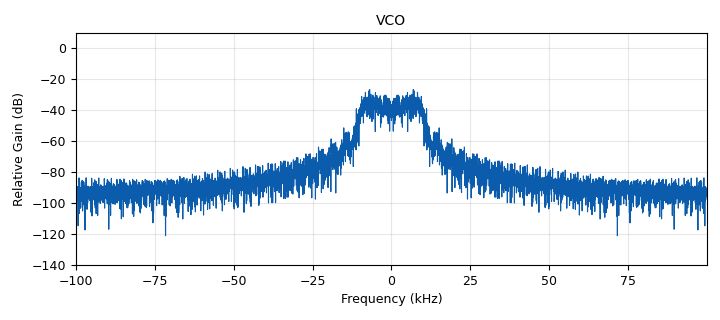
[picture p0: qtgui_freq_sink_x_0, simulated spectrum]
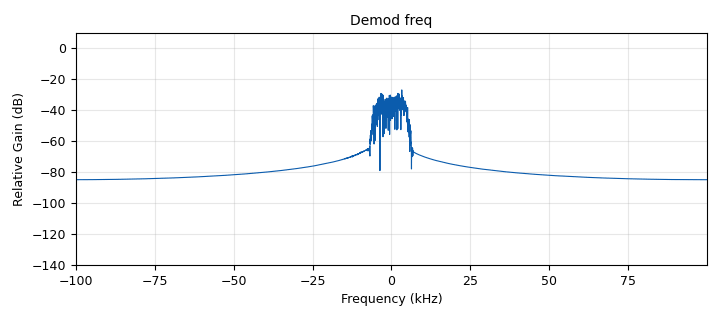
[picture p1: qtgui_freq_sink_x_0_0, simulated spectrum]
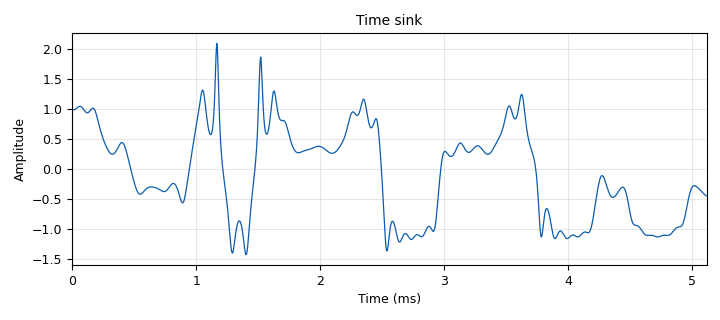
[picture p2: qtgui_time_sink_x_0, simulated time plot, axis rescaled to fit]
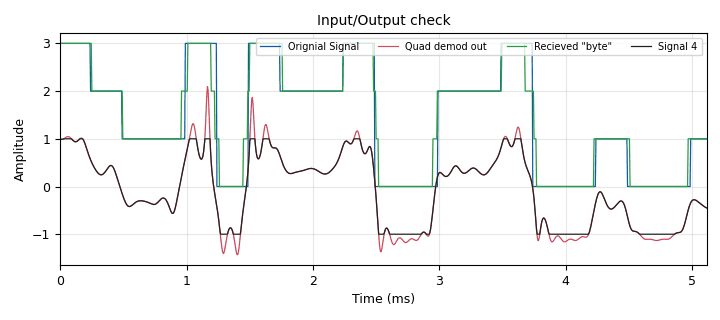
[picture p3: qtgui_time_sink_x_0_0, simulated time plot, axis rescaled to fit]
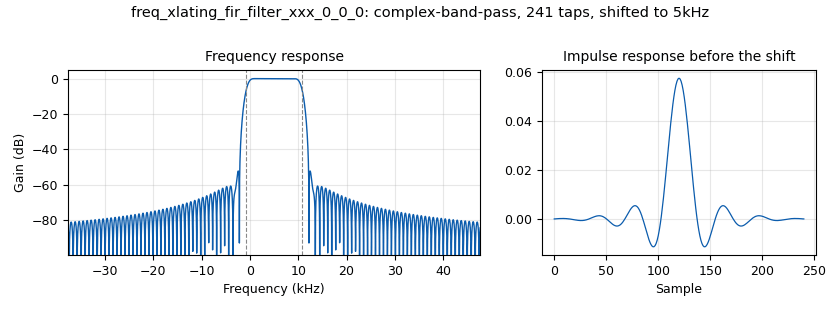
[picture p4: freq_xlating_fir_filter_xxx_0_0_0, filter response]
options:
  parameters:
    author: tobias
    generate_options: qt_gui
    id: FSK_4
    output_language: python
    title: 4FSK
  states: {}

blocks:
- name: TH
  id: variable
  parameters:
    value: bw*spec_eff
  states: {}
- name: bw
  id: variable
  parameters:
    value: 25e3
  states: {}
- name: fsk
  id: variable
  parameters:
    value: '4'
  states: {}
- name: interp
  id: variable_qtgui_range
  parameters:
    start: '1'
    step: '10'
    stop: '1000'
    value: '50'
  states: {}
- name: samp_rate
  id: variable
  parameters:
    value: 200e3
  states: {}
- name: spec_eff
  id: variable
  parameters:
    value: '0.3'
  states: {}
- name: transition_bw
  id: variable
  parameters:
    value: 2e3
  states: {}
- name: variable_0_0
  id: variable
  parameters:
    value: '0'
  states: {}
- name: vco_sens
  id: variable
  parameters:
    value: 2*math.pi*TH/(fsk-1)
  states: {}
- name: analog_const_source_x_0
  id: analog_const_source_x
  parameters:
    const: '2'
    type: float
  states: {}
- name: analog_quadrature_demod_cf_0
  id: analog_quadrature_demod_cf
  parameters:
    gain: '(samp_rate*2)/(2*math.pi*TH) '
  states: {}
- name: analog_rail_ff_0
  id: analog_rail_ff
  parameters:
    hi: '3'
    lo: '-3'
  states: {}
- name: analog_rail_ff_0_0
  id: analog_rail_ff
  parameters:
    hi: '1'
    lo: '-1'
  states: {}
- name: analog_random_source_x_0
  id: analog_random_source_x
  parameters:
    max: '2'
    min: '0'
    num_samps: int(samp_rate)
    repeat: 'True'
    type: byte
  states: {}
- name: analog_simple_squelch_cc_0
  id: analog_simple_squelch_cc
  parameters:
    alpha: '1'
    threshold: '-20'
  states: {}
- name: blocks_add_const_vxx_0
  id: blocks_add_const_vxx
  parameters:
    const: '0.5'
    type: float
  states: {}
- name: blocks_add_const_vxx_1
  id: blocks_add_const_vxx
  parameters:
    const: '3'
    type: float
  states: {}
- name: blocks_add_xx_0
  id: blocks_add_xx
  parameters:
    num_inputs: '3'
    type: float
  states: {}
- name: blocks_delay_0
  id: blocks_delay
  parameters:
    delay: '124'
    type: float
  states: {}
- name: blocks_divide_xx_0
  id: blocks_divide_xx
  parameters:
    type: float
  states: {}
- name: blocks_multiply_const_vxx_0
  id: blocks_multiply_const_vxx
  parameters:
    const: '3'
    type: float
  states: {}
- name: blocks_pack_k_bits_bb_0
  id: blocks_pack_k_bits_bb
  parameters:
    k: int(math.log2(fsk))
  states: {}
- name: blocks_repeat_0
  id: blocks_repeat
  parameters:
    interp: int(interp)
    type: byte
  states: {}
- name: blocks_sub_xx_0
  id: blocks_sub_xx
  parameters:
    type: float
  states: {}
- name: blocks_sub_xx_0_0
  id: blocks_sub_xx
  parameters:
    type: float
  states: {}
- name: blocks_threshold_ff_0
  id: blocks_threshold_ff
  parameters:
    high: '2.75'
    init: '0'
    low: '2.25'
  states: {}
- name: blocks_threshold_ff_0_1
  id: blocks_threshold_ff
  parameters:
    high: '1.75'
    init: '0'
    low: '1.25'
  states: {}
- name: blocks_threshold_ff_0_1_0
  id: blocks_threshold_ff
  parameters:
    high: '0.75'
    init: '0'
    low: '0.25'
  states: {}
- name: blocks_throttle_0
  id: blocks_throttle
  parameters:
    samples_per_second: samp_rate
    type: byte
  states: {}
- name: blocks_uchar_to_float_0
  id: blocks_uchar_to_float
  parameters: {}
  states: {}
- name: blocks_vco_f_0
  id: blocks_vco_f
  parameters:
    amplitude: '0.5'
    samp_rate: samp_rate
    sensitivity: vco_sens
  states: {}
- name: freq_xlating_fir_filter_xxx_0_0_0
  id: freq_xlating_fir_filter_xxx
  parameters:
    center_freq: (TH)*2/3
    decim: '1'
    samp_rate: samp_rate
    taps: firdes.complex_band_pass(1, samp_rate, -TH/2 - transition_bw  ,TH/2 + transition_bw, transition_bw)
    type: fcc
  states: {}
- name: import_0
  id: import
  parameters:
    imports: import math
  states: {}
- name: qtgui_freq_sink_x_0
  id: qtgui_freq_sink_x
  parameters:
    bw: samp_rate
    fc: '0'
    fftsize: '4096'
    name: '"VCO"'
    type: float
    wintype: window.WIN_RECTANGULAR
  states: {}
- name: qtgui_freq_sink_x_0_0
  id: qtgui_freq_sink_x
  parameters:
    bw: samp_rate
    fc: '0'
    fftsize: '4096'
    name: '"Demod freq"'
    type: complex
    wintype: window.WIN_RECTANGULAR
  states: {}
- name: qtgui_time_sink_x_0
  id: qtgui_time_sink_x
  parameters:
    name: Time sink
    size: '1024'
    srate: samp_rate
    type: float
  states: {}
- name: qtgui_time_sink_x_0_0
  id: qtgui_time_sink_x
  parameters:
    label1: Orignial Signal
    label2: Quad demod out
    label3: Recieved "byte"
    name: '"Input/Output check"'
    nconnections: '4'
    size: '1024'
    srate: samp_rate
    type: float
  states: {}
- name: virtual_sink_0
  id: virtual_sink
  parameters:
    stream_id: fsk_out
  states: {}
- name: virtual_source_0
  id: virtual_source
  parameters:
    stream_id: fsk_out
  states: {}

connections:
- [analog_const_source_x_0, '0', blocks_divide_xx_0, '1']
- [analog_quadrature_demod_cf_0, '0', analog_rail_ff_0_0, '0']
- [analog_quadrature_demod_cf_0, '0', qtgui_time_sink_x_0, '0']
- [analog_quadrature_demod_cf_0, '0', qtgui_time_sink_x_0_0, '1']
- [analog_rail_ff_0, '0', blocks_add_const_vxx_1, '0']
- [analog_rail_ff_0_0, '0', blocks_multiply_const_vxx_0, '0']
- [analog_rail_ff_0_0, '0', qtgui_time_sink_x_0_0, '3']
- [analog_random_source_x_0, '0', blocks_throttle_0, '0']
- [analog_simple_squelch_cc_0, '0', analog_quadrature_demod_cf_0, '0']
- [blocks_add_const_vxx_0, '0', blocks_vco_f_0, '0']
- [blocks_add_const_vxx_1, '0', blocks_divide_xx_0, '0']
- [blocks_add_xx_0, '0', qtgui_time_sink_x_0_0, '2']
- [blocks_delay_0, '0', qtgui_time_sink_x_0_0, '0']
- [blocks_divide_xx_0, '0', blocks_sub_xx_0, '0']
- [blocks_divide_xx_0, '0', blocks_threshold_ff_0, '0']
- [blocks_multiply_const_vxx_0, '0', analog_rail_ff_0, '0']
- [blocks_pack_k_bits_bb_0, '0', blocks_repeat_0, '0']
- [blocks_repeat_0, '0', blocks_uchar_to_float_0, '0']
- [blocks_sub_xx_0, '0', blocks_sub_xx_0_0, '0']
- [blocks_sub_xx_0, '0', blocks_threshold_ff_0_1, '0']
- [blocks_sub_xx_0_0, '0', blocks_threshold_ff_0_1_0, '0']
- [blocks_threshold_ff_0, '0', blocks_add_xx_0, '2']
- [blocks_threshold_ff_0, '0', blocks_sub_xx_0, '1']
- [blocks_threshold_ff_0_1, '0', blocks_add_xx_0, '1']
- [blocks_threshold_ff_0_1, '0', blocks_sub_xx_0_0, '1']
- [blocks_threshold_ff_0_1_0, '0', blocks_add_xx_0, '0']
- [blocks_throttle_0, '0', blocks_pack_k_bits_bb_0, '0']
- [blocks_uchar_to_float_0, '0', blocks_add_const_vxx_0, '0']
- [blocks_uchar_to_float_0, '0', blocks_delay_0, '0']
- [blocks_vco_f_0, '0', qtgui_freq_sink_x_0, '0']
- [blocks_vco_f_0, '0', virtual_sink_0, '0']
- [freq_xlating_fir_filter_xxx_0_0_0, '0', analog_simple_squelch_cc_0, '0']
- [freq_xlating_fir_filter_xxx_0_0_0, '0', qtgui_freq_sink_x_0_0, '0']
- [virtual_source_0, '0', freq_xlating_fir_filter_xxx_0_0_0, '0']

metadata:
  file_format: 1
  grc_version: 3.10.9.2
